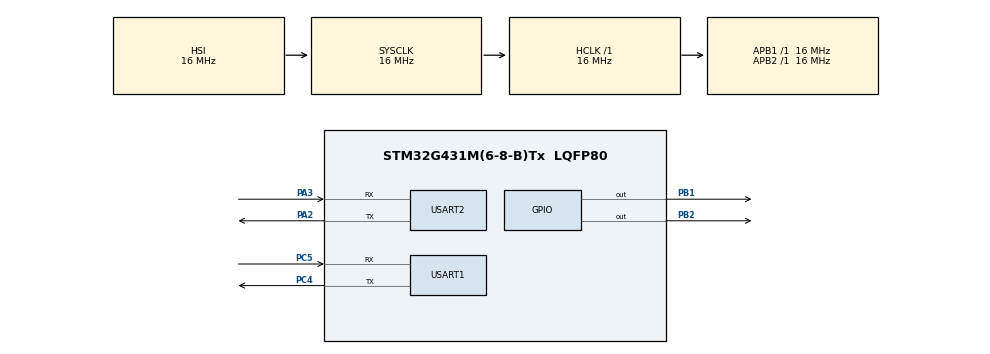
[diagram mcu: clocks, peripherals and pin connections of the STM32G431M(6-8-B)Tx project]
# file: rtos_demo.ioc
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FREERTOS.Tasks01=defaultTask,0,128,StartDefaultTask,Default,NULL,Dynamic,NULL,NULL;myTask02,0,128,Task2_init,Default,NULL,Dynamic,NULL,NULL;myTask04,0,128,Task4_init,Default,NULL,Dynamic,NULL,NULL
Mcu.Family=STM32G4
Mcu.Name=STM32G431M(6-8-B)Tx
Mcu.Package=LQFP80
NVIC.PriorityGroup=NVIC_PRIORITYGROUP_4
NVIC.TIM1_UP_TIM16_IRQn=true\:15\:0\:false\:false\:true\:false\:false\:true\:true
NVIC.TimeBase=TIM1_UP_TIM16_IRQn
NVIC.TimeBaseIP=TIM1
NVIC.USART1_IRQn=true\:5\:0\:false\:false\:true\:true\:true\:true\:true
PA13.Mode=Serial_Wire
PA13.Signal=SYS_JTMS-SWDIO
PA14.Mode=Serial_Wire
PA14.Signal=SYS_JTCK-SWCLK
PA2.Mode=Asynchronous
PA2.Signal=USART2_TX
PA3.Mode=Asynchronous
PA3.Signal=USART2_RX
PB1.PinState=GPIO_PIN_SET
PB1.Signal=GPIO_Output
PB2.PinState=GPIO_PIN_SET
PB2.Signal=GPIO_Output
PC4.Mode=Asynchronous
PC4.Signal=USART1_TX
PC5.Mode=Asynchronous
PC5.Signal=USART1_RX
ProjectManager.HeapSize=0x200
ProjectManager.StackSize=0x400
ProjectManager.TargetToolchain=STM32CubeIDE
RCC.AHBFreq_Value=16000000
RCC.APB1Freq_Value=16000000
RCC.APB1TimFreq_Value=16000000
RCC.APB2Freq_Value=16000000
RCC.APB2TimFreq_Value=16000000
RCC.CortexFreq_Value=16000000
RCC.EXTERNAL_CLOCK_VALUE=12288000
RCC.HCLKFreq_Value=16000000
RCC.HSE_VALUE=8000000
RCC.HSI48_VALUE=48000000
RCC.HSI_VALUE=16000000
RCC.LSE_VALUE=32768
RCC.SYSCLKFreq_VALUE=16000000
RCC.USBFreq_Value=64000000
RCC.VCOOutputFreq_Value=128000000
USART1.VirtualMode-Asynchronous=VM_ASYNC
USART2.VirtualMode-Asynchronous=VM_ASYNC
VP_FREERTOS_VS_CMSIS_V1.Mode=CMSIS_V1
VP_SYS_VS_DBSignals.Mode=DisableDeadBatterySignals
VP_SYS_VS_tim1.Mode=TIM1
board=custom

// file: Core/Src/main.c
/* USER CODE BEGIN Header */
/**
  ******************************************************************************
  * @file           : main.c
  * @brief          : Main program body
  ******************************************************************************
  * @attention
  *
  * Copyright (c) 2025 STMicroelectronics.
  * All rights reserved.
  *
  * This software is licensed under terms that can be found in the LICENSE file
  * in the root directory of this software component.
  * If no LICENSE file comes with this software, it is provided AS-IS.
  *
  ******************************************************************************
  */
/* USER CODE END Header */
#include "main.h"
#include "cmsis_os.h"

/* USER CODE BEGIN Includes */
#include <string.h>  // for strlen
/* USER CODE END Includes */

/* USER CODE BEGIN PTD */
char buffer[100];

/* USER CODE END PTD */

UART_HandleTypeDef huart1;
UART_HandleTypeDef huart2;

osThreadId defaultTaskHandle;
osThreadId myTask02Handle;
osThreadId myTask04Handle;
/* USER CODE BEGIN PV */
osThreadId Task3Handle;

/* USER CODE END PV */

void SystemClock_Config(void);
static void MX_GPIO_Init(void);
static void MX_USART1_UART_Init(void);
static void MX_USART2_UART_Init(void);
void StartDefaultTask(void const * argument);
void Task2_init(void const * argument);
void Task4_init(void const * argument);

/* USER CODE BEGIN PFP */
void Task3_init (void const * argument);

int cnt1 = 1,cnt2 = 1;
/* USER CODE END PFP */

/* USER CODE BEGIN 0 */
#ifdef __GNUC__
int __io_putchar(int ch)
{
    HAL_UART_Transmit(&huart2, (uint8_t*)&ch, 1, HAL_MAX_DELAY);
    return ch;
}
#endif
/* USER CODE END 0 */

int main(void)
{

  /* MCU Configuration--------------------------------------------------------*/

  /* Reset of all peripherals, Initializes the Flash interface and the Systick. */
  HAL_Init();

  /* Configure the system clock */
  SystemClock_Config();

  /* Initialize all configured peripherals */
  MX_GPIO_Init();
  MX_USART1_UART_Init();
  MX_USART2_UART_Init();

  /* Create the thread(s) */
  /* definition and creation of defaultTask */
  osThreadDef(defaultTask, StartDefaultTask, osPriorityNormal, 0, 128);
  defaultTaskHandle = osThreadCreate(osThread(defaultTask), NULL);

  /* definition and creation of myTask02 */
  osThreadDef(myTask02, Task2_init, osPriorityBelowNormal, 0, 128);
  myTask02Handle = osThreadCreate(osThread(myTask02), NULL);

  /* definition and creation of myTask04 */
//  osThreadDef(myTask04, Task4_init, osPriorityNormal, 0, 128);
//  myTask04Handle = osThreadCreate(osThread(myTask04), NULL);

  /* USER CODE BEGIN RTOS_THREADS */
  osThreadDef(Task3, Task3_init, osPriorityAboveNormal, 0, 128);
  Task3Handle = osThreadCreate(osThread (Task3), NULL);
  /* add threads, ... */
  /* USER CODE END RTOS_THREADS */

  /* Start scheduler */
  osKernelStart();

  /* We should never get here as control is now taken by the scheduler */

  /* Infinite loop */
  while (1)
  {

  }
}

void SystemClock_Config(void)
{
  RCC_OscInitTypeDef RCC_OscInitStruct = {0};
  RCC_ClkInitTypeDef RCC_ClkInitStruct = {0};

  /** Configure the main internal regulator output voltage
  */
  HAL_PWREx_ControlVoltageScaling(PWR_REGULATOR_VOLTAGE_SCALE1);

  /** Initializes the RCC Oscillators according to the specified parameters
  * in the RCC_OscInitTypeDef structure.
  */
  RCC_OscInitStruct.OscillatorType = RCC_OSCILLATORTYPE_HSI;
  RCC_OscInitStruct.HSIState = RCC_HSI_ON;
  RCC_OscInitStruct.HSICalibrationValue = RCC_HSICALIBRATION_DEFAULT;
  RCC_OscInitStruct.PLL.PLLState = RCC_PLL_NONE;
  if (HAL_RCC_OscConfig(&RCC_OscInitStruct) != HAL_OK)
  {
    Error_Handler();
  }

  /** Initializes the CPU, AHB and APB buses clocks
  */
  RCC_ClkInitStruct.ClockType = RCC_CLOCKTYPE_HCLK|RCC_CLOCKTYPE_SYSCLK
                              |RCC_CLOCKTYPE_PCLK1|RCC_CLOCKTYPE_PCLK2;
  RCC_ClkInitStruct.SYSCLKSource = RCC_SYSCLKSOURCE_HSI;
  RCC_ClkInitStruct.AHBCLKDivider = RCC_SYSCLK_DIV1;
  RCC_ClkInitStruct.APB1CLKDivider = RCC_HCLK_DIV1;
  RCC_ClkInitStruct.APB2CLKDivider = RCC_HCLK_DIV1;

  if (HAL_RCC_ClockConfig(&RCC_ClkInitStruct, FLASH_LATENCY_0) != HAL_OK)
  {
    Error_Handler();
  }
}

static void MX_USART1_UART_Init(void)
{

  huart1.Instance = USART1;
  huart1.Init.BaudRate = 115200;
  huart1.Init.WordLength = UART_WORDLENGTH_8B;
  huart1.Init.StopBits = UART_STOPBITS_1;
  huart1.Init.Parity = UART_PARITY_NONE;
  huart1.Init.Mode = UART_MODE_TX_RX;
  huart1.Init.HwFlowCtl = UART_HWCONTROL_NONE;
  huart1.Init.OverSampling = UART_OVERSAMPLING_16;
  huart1.Init.OneBitSampling = UART_ONE_BIT_SAMPLE_DISABLE;
  huart1.Init.ClockPrescaler = UART_PRESCALER_DIV1;
  huart1.AdvancedInit.AdvFeatureInit = UART_ADVFEATURE_NO_INIT;
  if (HAL_UART_Init(&huart1) != HAL_OK)
  {
    Error_Handler();
  }
  if (HAL_UARTEx_SetTxFifoThreshold(&huart1, UART_TXFIFO_THRESHOLD_1_8) != HAL_OK)
  {
    Error_Handler();
  }
  if (HAL_UARTEx_SetRxFifoThreshold(&huart1, UART_RXFIFO_THRESHOLD_1_8) != HAL_OK)
  {
    Error_Handler();
  }
  if (HAL_UARTEx_DisableFifoMode(&huart1) != HAL_OK)
  {
    Error_Handler();
  }

}

static void MX_USART2_UART_Init(void)
{

  huart2.Instance = USART2;
  huart2.Init.BaudRate = 115200;
  huart2.Init.WordLength = UART_WORDLENGTH_8B;
  huart2.Init.StopBits = UART_STOPBITS_1;
  huart2.Init.Parity = UART_PARITY_NONE;
  huart2.Init.Mode = UART_MODE_TX_RX;
  huart2.Init.HwFlowCtl = UART_HWCONTROL_NONE;
  huart2.Init.OverSampling = UART_OVERSAMPLING_16;
  huart2.Init.OneBitSampling = UART_ONE_BIT_SAMPLE_DISABLE;
  huart2.Init.ClockPrescaler = UART_PRESCALER_DIV1;
  huart2.AdvancedInit.AdvFeatureInit = UART_ADVFEATURE_NO_INIT;
  if (HAL_UART_Init(&huart2) != HAL_OK)
  {
    Error_Handler();
  }
  if (HAL_UARTEx_SetTxFifoThreshold(&huart2, UART_TXFIFO_THRESHOLD_1_8) != HAL_OK)
  {
    Error_Handler();
  }
  if (HAL_UARTEx_SetRxFifoThreshold(&huart2, UART_RXFIFO_THRESHOLD_1_8) != HAL_OK)
  {
    Error_Handler();
  }
  if (HAL_UARTEx_DisableFifoMode(&huart2) != HAL_OK)
  {
    Error_Handler();
  }

}

static void MX_GPIO_Init(void)
{
  GPIO_InitTypeDef GPIO_InitStruct = {0};

  /* GPIO Ports Clock Enable */
  __HAL_RCC_GPIOA_CLK_ENABLE();
  __HAL_RCC_GPIOC_CLK_ENABLE();
  __HAL_RCC_GPIOB_CLK_ENABLE();

  /*Configure GPIO pin Output Level */
  HAL_GPIO_WritePin(GPIOB, GPIO_PIN_1|GPIO_PIN_2, GPIO_PIN_SET);

  /*Configure GPIO pins : PB1 PB2 */
  GPIO_InitStruct.Pin = GPIO_PIN_1|GPIO_PIN_2;
  GPIO_InitStruct.Mode = GPIO_MODE_OUTPUT_PP;
  GPIO_InitStruct.Pull = GPIO_NOPULL;
  GPIO_InitStruct.Speed = GPIO_SPEED_FREQ_LOW;
  HAL_GPIO_Init(GPIOB, &GPIO_InitStruct);

}

/* USER CODE BEGIN 4 */

void send_deftask(void) {
	uint8_t data[] = "Hello from Default\r\n";
	HAL_UART_Transmit(&huart1, data, sizeof(data), HAL_MAX_DELAY);
}

void send_task2(void) {
	uint8_t data[] = "Hello from Task 2\r\n";
	HAL_UART_Transmit(&huart1, data, sizeof(data), HAL_MAX_DELAY);
}

void send_task3(void) {
	uint8_t data[] = "Task\r\n";
	HAL_UART_Transmit(&huart1, data, sizeof(data), HAL_MAX_DELAY);
}

void Task3_init (void const * argument)
 {
     while (1)
     {
    	 sprintf(buffer, "Task 1: %d times\r\nTask 2: %d times\r\n", cnt1, cnt2);
    	 HAL_UART_Transmit(&huart1, (uint8_t*)buffer, strlen(buffer), HAL_MAX_DELAY);
    	osDelay(5000);

     }
 }
/* USER CODE END 4 */

void StartDefaultTask(void const * argument)
{
  /* USER CODE BEGIN 5 */
  /* Infinite loop */
  for(;;)
  {
	HAL_GPIO_WritePin(GPIOB, GPIO_PIN_1, 0);
    osDelay(3000);
    HAL_GPIO_WritePin(GPIOB, GPIO_PIN_1, 1);
    osDelay(7000);
	cnt1++;

  }
  /* USER CODE END 5 */
}

void Task2_init(void const * argument)
{
    TickType_t xLastWakeTime = xTaskGetTickCount();  // initialize ONCE before loop

    for (;;)
    {
        // Wait until next 15-second window (always happens at fixed intervals)
        // Blink LED 3 times, 1 second ON, 1 second OFF
        for (int i = 0; i < 3; i++) {
            HAL_GPIO_WritePin(GPIOB, GPIO_PIN_2, 0);
            osDelay(500);
            HAL_GPIO_WritePin(GPIOB, GPIO_PIN_2, 1);
            osDelay(500);
        }

        osDelayUntil(&xLastWakeTime, pdMS_TO_TICKS(15000));
        cnt2++;  // increment after blink sequence completes

    }
}
//void Task4_init(void const * argument)
//{
//  /* USER CODE BEGIN Task4_init */
//  /* Infinite loop */
//  for(;;)
//  {
//    osDelay(1);
//  }
//  /* USER CODE END Task4_init */
//}

void HAL_TIM_PeriodElapsedCallback(TIM_HandleTypeDef *htim)
{
  if (htim->Instance == TIM1) {
    HAL_IncTick();
  }
}

void Error_Handler(void)
{
  __disable_irq();
  while (1)
  {
  }
}
